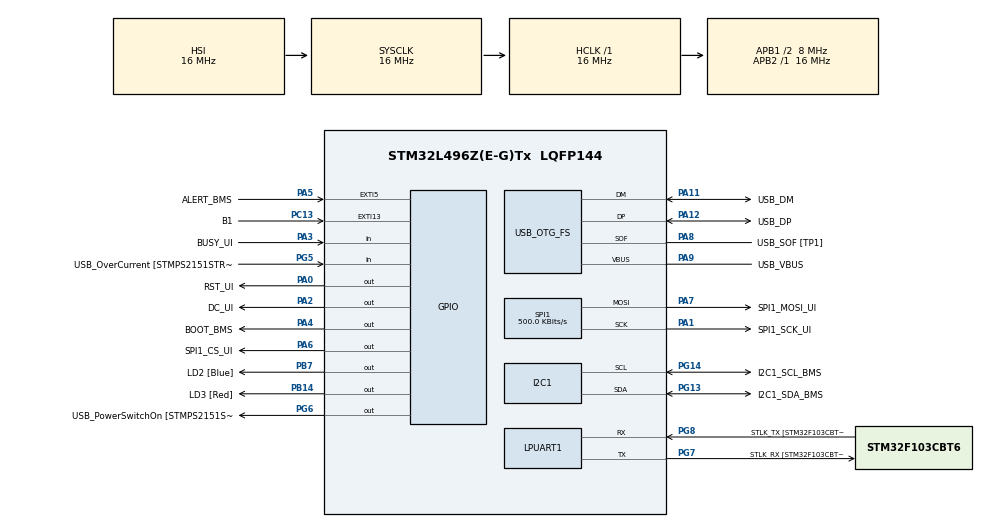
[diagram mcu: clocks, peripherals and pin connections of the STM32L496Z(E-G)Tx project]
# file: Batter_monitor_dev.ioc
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I2C1.Timing=0x2000090E
Mcu.Family=STM32L4
Mcu.Name=STM32L496Z(E-G)Tx
Mcu.Package=LQFP144
NVIC.EXTI9_5_IRQn=true\:0\:0\:false\:false\:true\:true\:true\:true
NVIC.PriorityGroup=NVIC_PRIORITYGROUP_4
NVIC.RTC_WKUP_IRQn=true\:0\:0\:false\:false\:true\:true\:true\:true
PA0.GPIO_Label=RST_UI
PA0.Signal=GPIO_Output
PA1.GPIO_Label=SPI1_SCK_UI
PA1.Mode=TX_Only_Simplex_Unidirect_Master
PA1.Signal=SPI1_SCK
PA10.GPIO_Label=USB_ID
PA10.Signal=USB_OTG_FS_ID
PA11.GPIO_Label=USB_DM
PA11.Mode=Device_Only
PA11.Signal=USB_OTG_FS_DM
PA12.GPIO_Label=USB_DP
PA12.Mode=Device_Only
PA12.Signal=USB_OTG_FS_DP
PA13\ (JTMS/SWDIO).GPIO_Label=TMS
PA13\ (JTMS/SWDIO).Mode=Serial_Wire
PA13\ (JTMS/SWDIO).Signal=SYS_JTMS-SWDIO
PA14\ (JTCK/SWCLK).GPIO_Label=TCK
PA14\ (JTCK/SWCLK).Mode=Serial_Wire
PA14\ (JTCK/SWCLK).Signal=SYS_JTCK-SWCLK
PA2.GPIO_Label=DC_UI
PA2.Signal=GPIO_Output
PA3.GPIO_Label=BUSY_UI
PA3.Signal=GPIO_Input
PA4.GPIO_Label=BOOT_BMS
PA4.Signal=GPIO_Output
PA5.GPIO_Label=ALERT_BMS
PA5.Signal=GPXTI5
PA6.GPIO_Label=SPI1_CS_UI
PA6.Signal=GPIO_Output
PA7.GPIO_Label=SPI1_MOSI_UI
PA7.Mode=TX_Only_Simplex_Unidirect_Master
PA7.Signal=SPI1_MOSI
PA8.GPIO_Label=USB_SOF [TP1]
PA8.Mode=Activate_SOF_FS
PA8.Signal=USB_OTG_FS_SOF
PA9.GPIO_Label=USB_VBUS
PA9.Mode=Activate_VBUS
PA9.Signal=USB_OTG_FS_VBUS
PB14.GPIO_Label=LD3 [Red]
PB14.Signal=GPIO_Output
PB3\ (JTDO/TRACESWO).GPIO_Label=SWO
PB3\ (JTDO/TRACESWO).Signal=SYS_JTDO-SWO
PB7.GPIO_Label=LD2 [Blue]
PB7.Signal=GPIO_Output
PC13.GPIO_Label=B1
PC13.Signal=GPXTI13
PC14-OSC32_IN\ (PC14).Mode=LSE-External-Oscillator
PC14-OSC32_IN\ (PC14).Signal=RCC_OSC32_IN
PC15-OSC32_OUT\ (PC15).Mode=LSE-External-Oscillator
PC15-OSC32_OUT\ (PC15).Signal=RCC_OSC32_OUT
PG13.GPIO_Label=I2C1_SDA_BMS
PG13.Mode=I2C
PG13.Signal=I2C1_SDA
PG14.GPIO_Label=I2C1_SCL_BMS
PG14.Mode=I2C
PG14.Signal=I2C1_SCL
PG5.GPIO_Label=USB_OverCurrent [STMPS2151STR_FAULT]
PG5.Signal=GPIO_Input
PG6.GPIO_Label=USB_PowerSwitchOn [STMPS2151STR_EN]
PG6.Signal=GPIO_Output
PG7.GPIO_Label=STLK_RX [STM32F103CBT6_PA3]
PG7.Mode=Asynchronous
PG7.Signal=LPUART1_TX
PG8.GPIO_Label=STLK_TX [STM32F103CBT6_PA2]
PG8.Mode=Asynchronous
PG8.Signal=LPUART1_RX
PH0-OSC_IN\ (PH0).Mode=HSE-External-Oscillator
PH0-OSC_IN\ (PH0).Signal=RCC_OSC_IN
PH1-OSC_OUT\ (PH1).Mode=HSE-External-Oscillator
PH1-OSC_OUT\ (PH1).Signal=RCC_OSC_OUT
ProjectManager.HeapSize=0x200
ProjectManager.StackSize=0x400
ProjectManager.TargetToolchain=STM32CubeIDE
RCC.48MHZClocksFreq_Value=24000000
RCC.ADCFreq_Value=48000000
RCC.AHBFreq_Value=16000000
RCC.APB1CLKDivider=RCC_HCLK_DIV2
RCC.APB1Freq_Value=8000000
RCC.APB1TimFreq_Value=16000000
RCC.APB2Freq_Value=16000000
RCC.APB2TimFreq_Value=16000000
RCC.CortexFreq_Value=16000000
RCC.HCLKFreq_Value=16000000
RCC.HSE_VALUE=48000000
RCC.HSI48_VALUE=48000000
RCC.HSI_VALUE=16000000
RCC.MSI_VALUE=4000000
RCC.PLLMUL=RCC_PLL_MUL9
RCC.PLLN=40
RCC.PLLSAI1N=24
RCC.PRESCALERUSB=RCC_USBCLKSOURCE_PLL_DIV1_5
RCC.SYSCLKFreq_VALUE=16000000
RCC.SYSCLKSource=RCC_SYSCLKSOURCE_HSI
RCC.SYSCLKSourceVirtual=RCC_SYSCLKSOURCE_PLLCLK
RCC.USBFreq_Value=48000000
RCC.VCOOutputFreq_Value=160000000
RTC.WakeUpCounter-WakeUp=0x4E20
SPI1.BaudRatePrescaler=SPI_BAUDRATEPRESCALER_32
SPI1.CalculateBaudRate=500.0 KBits/s
SPI1.Direction=SPI_DIRECTION_2LINES
SPI1.Mode=SPI_MODE_MASTER
SPI1.NSSPMode=SPI_NSS_PULSE_DISABLE
SPI1.VirtualType=VM_MASTER
USB_OTG_FS.VirtualMode=Device_Only
VP_RTC_VS_RTC_Activate.Mode=RTC_Enabled
VP_RTC_VS_RTC_WakeUp_intern.Mode=WakeUp
board=NUCLEO-L496ZG

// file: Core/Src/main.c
/* USER CODE BEGIN Header */
/**
  ******************************************************************************
  * @file           : main.c
  * @brief          : Main program body
  ******************************************************************************
  * @attention
  *
  * Copyright (c) 2022 STMicroelectronics.
  * All rights reserved.
  *
  * This software is licensed under terms that can be found in the LICENSE file
  * in the root directory of this software component.
  * If no LICENSE file comes with this software, it is provided AS-IS.
  *
  ******************************************************************************
  */
/* USER CODE END Header */
#include "main.h"

/* USER CODE BEGIN Includes */
#include "EPD_2in66.h"
#include "GUI_Paint.h"
#include <math.h>
#include <stdio.h>
#include <string.h>
/* USER CODE END Includes */

/* USER CODE BEGIN PD */
#define EPD_RST_Pin GPIO_PIN_15
#define EPD_RST_GPIO_Port GPIOA
#define EPD_CS_Pin GPIO_PIN_10
#define EPD_CS_GPIO_Port GPIOC
#define EPD_DC_Pin GPIO_PIN_6
#define EPD_DC_GPIO_Port GPIOC
#define EPD_BUSY_Pin GPIO_PIN_4
#define EPD_BUSY_GPIO_Port GPIOB
#define EPD_BUSY_EXTI_IRQn EXTI4_IRQn
/* USER CODE END PD */

I2C_HandleTypeDef hi2c1;

UART_HandleTypeDef hlpuart1;

RTC_HandleTypeDef hrtc;

SPI_HandleTypeDef hspi1;

PCD_HandleTypeDef hpcd_USB_OTG_FS;

/* USER CODE BEGIN PV */
static const uint8_t BQ76940_ADDR = 0x08<<1;//BMS temp address
static const uint8_t SYS_STAT_REG = 0x00;	//SYS_STAT register
static const uint8_t SYS_CTRL1_REG = 0x04;	//SYS_CTRL1 register
static const uint8_t SYS_CTRL2_REG = 0x05;	//SYS_CTRL2 register
static const uint8_t VC1_HI_REG = 0x0C;		//Needed to start the for() sequence later.
static const uint8_t TS1_HI_REG = 0x2C;		//TS1 register
static const uint8_t CC_HI_REG = 0x32;		//CC register
static const uint8_t ADCGAIN_REG = 0x50; 	//ADC gain register
static const uint8_t ADCOFFSET_REG = 0x51; 	//ADC offset register
HAL_StatusTypeDef ret;						//Error handle value
static const uint32_t WakeUpTimer = 0x4E20; //RTC wakeup timer value (20000 = 4E20)
/* USER CODE END PV */

void SystemClock_Config(void);
static void MX_GPIO_Init(void);
static void MX_LPUART1_UART_Init(void);
static void MX_USB_OTG_FS_PCD_Init(void);
static void MX_I2C1_Init(void);
static void MX_SPI1_Init(void);
static void MX_RTC_Init(void);
/* USER CODE BEGIN PFP */
void BQ76940_set_register(uint8_t reg, uint8_t reg_val);
void BQ76940_get_register(uint8_t reg, uint8_t* buf);
uint16_t BQ76940_get_HILO_register(uint8_t reg, uint8_t* buf);
void BQ76940_SHIPMODE();
void STM32L432KB_LP_STOP2();
/* USER CODE END PFP */

int main(void)
{
  /* USER CODE BEGIN 1 */
	uint8_t buf_ADC_gain[8], buf_ADC_offset[8], buf_ALERT_stat[8];
	uint8_t buf_cell_volt[16], buf_temp[16], buf_current[16], adc_gain, adc_offset;
	uint16_t cell_volt, temp, current;
	//float pack_current;
	float pack_voltage;
  /* USER CODE END 1 */

  /* MCU Configuration--------------------------------------------------------*/

  /* Reset of all peripherals, Initializes the Flash interface and the Systick. */
  HAL_Init();

  /* Configure the system clock */
  SystemClock_Config();

  /* Initialize all configured peripherals */
  MX_GPIO_Init();
  MX_LPUART1_UART_Init();
  MX_USB_OTG_FS_PCD_Init();
  MX_I2C1_Init();
  MX_SPI1_Init();
  MX_RTC_Init();
  /* USER CODE BEGIN 2 */
  BQ76940_get_register(ADCGAIN_REG, buf_ADC_gain);
  BQ76940_get_register(ADCOFFSET_REG, buf_ADC_offset);
  BQ76940_set_register(SYS_CTRL1_REG, 0x08u);	//Enable temperature measurements (TEMP_SEL = 1)
  BQ76940_set_register(SYS_CTRL2_REG, 0x40u);	//Enable CC ALWAYS ON mode (CC_EN = 1)
  HAL_GPIO_WritePin(GPIOA, GPIO_PIN_6, GPIO_PIN_SET);	//Set SPI CS pin high PA6
  EPD_2IN66_Init();	//Initialize the E-paper display
  EPD_2IN66_Clear();
  adc_gain = (buf_ADC_gain[0]*(10*exp(-6)));
  adc_offset = (buf_ADC_offset[0]*(10*exp(-3)));

  //Initial error checking for the SYS_STAT register.
  BQ76940_get_register(SYS_STAT_REG, buf_ALERT_stat);
  for(int i = 0; i<sizeof(buf_ALERT_stat); i++){
	  if(buf_ALERT_stat[i] != 0x00u){
		  printf("%d ", buf_ALERT_stat[i]);
		  BQ76940_set_register(SYS_STAT_REG, 0xFFu);
	  }
  }

  /* USER CODE END 2 */

  /* Infinite loop */
  /* USER CODE BEGIN WHILE */
  while (1)
  {
	  HAL_Delay(1000);
	  //Get each cell reading from their respective registers and store the voltage according to ADC gain and offset.
	  for(size_t i = 0; i<sizeof(buf_cell_volt); i++)
	  {
		  cell_volt = BQ76940_get_HILO_register(VC1_HI_REG + (i*2), buf_cell_volt);
		  cell_volt = ((adc_gain * cell_volt)+adc_offset);
		  printf("Cell %d voltage: %d\n", i, cell_volt);

		  //calculate pack total voltage from individual cell voltages
		  pack_voltage += cell_volt;
	  }
	  printf("Total cell voltage: %d\n", (int)pack_voltage);

	  //get the equivalent temperature resistance value
	  temp = BQ76940_get_HILO_register(TS1_HI_REG, buf_temp);
	  printf("Temperature: %d\n", temp);

	  //get the pack current value
	  current = BQ76940_get_HILO_register(CC_HI_REG, buf_current);
	  printf("Pack current: %d\n", current);

	  /*
	   * 	While the current is below acceptable threshold
	   * 	put BQ into ship mode, MCU in low power mode and
	   * 	measure current every minute.
	   */
	  while(current < 100){
		  HAL_GPIO_TogglePin(GPIOB, GPIO_PIN_1);						//Reset BQ BOOT pin.
		  BQ76940_SHIPMODE();											//Enter BQ low power ship mode.
		  STM32L432KB_LP_STOP2();										//Enter MCU low power STOP2 mode. Implement this in function.
		  HAL_GPIO_TogglePin(GPIOB, GPIO_PIN_1);						//Set BQ BOOT pin to enter normal mode.
		  current = BQ76940_get_HILO_register(CC_HI_REG, buf_current);	//Get current measurement.
	  }
    /* USER CODE END WHILE */

  }
}

void SystemClock_Config(void)
{
  RCC_OscInitTypeDef RCC_OscInitStruct = {0};
  RCC_ClkInitTypeDef RCC_ClkInitStruct = {0};

  /** Configure the main internal regulator output voltage
  */
  if (HAL_PWREx_ControlVoltageScaling(PWR_REGULATOR_VOLTAGE_SCALE1) != HAL_OK)
  {
    Error_Handler();
  }

  /** Configure LSE Drive Capability
  */
  HAL_PWR_EnableBkUpAccess();
  __HAL_RCC_LSEDRIVE_CONFIG(RCC_LSEDRIVE_LOW);

  /** Initializes the RCC Oscillators according to the specified parameters
  * in the RCC_OscInitTypeDef structure.
  */
  RCC_OscInitStruct.OscillatorType = RCC_OSCILLATORTYPE_HSI|RCC_OSCILLATORTYPE_LSI
                              |RCC_OSCILLATORTYPE_LSE|RCC_OSCILLATORTYPE_MSI;
  RCC_OscInitStruct.LSEState = RCC_LSE_ON;
  RCC_OscInitStruct.HSIState = RCC_HSI_ON;
  RCC_OscInitStruct.HSICalibrationValue = RCC_HSICALIBRATION_DEFAULT;
  RCC_OscInitStruct.LSIState = RCC_LSI_ON;
  RCC_OscInitStruct.MSIState = RCC_MSI_ON;
  RCC_OscInitStruct.MSICalibrationValue = 0;
  RCC_OscInitStruct.MSIClockRange = RCC_MSIRANGE_6;
  RCC_OscInitStruct.PLL.PLLState = RCC_PLL_NONE;
  if (HAL_RCC_OscConfig(&RCC_OscInitStruct) != HAL_OK)
  {
    Error_Handler();
  }

  /** Initializes the CPU, AHB and APB buses clocks
  */
  RCC_ClkInitStruct.ClockType = RCC_CLOCKTYPE_HCLK|RCC_CLOCKTYPE_SYSCLK
                              |RCC_CLOCKTYPE_PCLK1|RCC_CLOCKTYPE_PCLK2;
  RCC_ClkInitStruct.SYSCLKSource = RCC_SYSCLKSOURCE_HSI;
  RCC_ClkInitStruct.AHBCLKDivider = RCC_SYSCLK_DIV1;
  RCC_ClkInitStruct.APB1CLKDivider = RCC_HCLK_DIV2;
  RCC_ClkInitStruct.APB2CLKDivider = RCC_HCLK_DIV1;

  if (HAL_RCC_ClockConfig(&RCC_ClkInitStruct, FLASH_LATENCY_0) != HAL_OK)
  {
    Error_Handler();
  }

  /** Enable MSI Auto calibration
  */
  HAL_RCCEx_EnableMSIPLLMode();
}

static void MX_I2C1_Init(void)
{

  hi2c1.Instance = I2C1;
  hi2c1.Init.Timing = 0x2000090E;
  hi2c1.Init.OwnAddress1 = 0;
  hi2c1.Init.AddressingMode = I2C_ADDRESSINGMODE_7BIT;
  hi2c1.Init.DualAddressMode = I2C_DUALADDRESS_DISABLE;
  hi2c1.Init.OwnAddress2 = 0;
  hi2c1.Init.OwnAddress2Masks = I2C_OA2_NOMASK;
  hi2c1.Init.GeneralCallMode = I2C_GENERALCALL_DISABLE;
  hi2c1.Init.NoStretchMode = I2C_NOSTRETCH_DISABLE;
  if (HAL_I2C_Init(&hi2c1) != HAL_OK)
  {
    Error_Handler();
  }

  /** Configure Analogue filter
  */
  if (HAL_I2CEx_ConfigAnalogFilter(&hi2c1, I2C_ANALOGFILTER_ENABLE) != HAL_OK)
  {
    Error_Handler();
  }

  /** Configure Digital filter
  */
  if (HAL_I2CEx_ConfigDigitalFilter(&hi2c1, 0) != HAL_OK)
  {
    Error_Handler();
  }

}

static void MX_LPUART1_UART_Init(void)
{

  hlpuart1.Instance = LPUART1;
  hlpuart1.Init.BaudRate = 209700;
  hlpuart1.Init.WordLength = UART_WORDLENGTH_7B;
  hlpuart1.Init.StopBits = UART_STOPBITS_1;
  hlpuart1.Init.Parity = UART_PARITY_NONE;
  hlpuart1.Init.Mode = UART_MODE_TX_RX;
  hlpuart1.Init.HwFlowCtl = UART_HWCONTROL_NONE;
  hlpuart1.Init.OneBitSampling = UART_ONE_BIT_SAMPLE_DISABLE;
  hlpuart1.AdvancedInit.AdvFeatureInit = UART_ADVFEATURE_NO_INIT;
  if (HAL_UART_Init(&hlpuart1) != HAL_OK)
  {
    Error_Handler();
  }

}

static void MX_RTC_Init(void)
{

  /** Initialize RTC Only
  */
  hrtc.Instance = RTC;
  hrtc.Init.HourFormat = RTC_HOURFORMAT_24;
  hrtc.Init.AsynchPrediv = 127;
  hrtc.Init.SynchPrediv = 255;
  hrtc.Init.OutPut = RTC_OUTPUT_DISABLE;
  hrtc.Init.OutPutRemap = RTC_OUTPUT_REMAP_NONE;
  hrtc.Init.OutPutPolarity = RTC_OUTPUT_POLARITY_HIGH;
  hrtc.Init.OutPutType = RTC_OUTPUT_TYPE_OPENDRAIN;
  if (HAL_RTC_Init(&hrtc) != HAL_OK)
  {
    Error_Handler();
  }

}

static void MX_SPI1_Init(void)
{

  /* SPI1 parameter configuration*/
  hspi1.Instance = SPI1;
  hspi1.Init.Mode = SPI_MODE_MASTER;
  hspi1.Init.Direction = SPI_DIRECTION_2LINES;
  hspi1.Init.DataSize = SPI_DATASIZE_8BIT;
  hspi1.Init.CLKPolarity = SPI_POLARITY_LOW;
  hspi1.Init.CLKPhase = SPI_PHASE_1EDGE;
  hspi1.Init.NSS = SPI_NSS_SOFT;
  hspi1.Init.BaudRatePrescaler = SPI_BAUDRATEPRESCALER_16;
  hspi1.Init.FirstBit = SPI_FIRSTBIT_MSB;
  hspi1.Init.TIMode = SPI_TIMODE_DISABLE;
  hspi1.Init.CRCCalculation = SPI_CRCCALCULATION_DISABLE;
  hspi1.Init.CRCPolynomial = 7;
  hspi1.Init.CRCLength = SPI_CRC_LENGTH_DATASIZE;
  hspi1.Init.NSSPMode = SPI_NSS_PULSE_DISABLE;
  if (HAL_SPI_Init(&hspi1) != HAL_OK)
  {
    Error_Handler();
  }

}

static void MX_USB_OTG_FS_PCD_Init(void)
{

  hpcd_USB_OTG_FS.Instance = USB_OTG_FS;
  hpcd_USB_OTG_FS.Init.dev_endpoints = 6;
  hpcd_USB_OTG_FS.Init.speed = PCD_SPEED_FULL;
  hpcd_USB_OTG_FS.Init.phy_itface = PCD_PHY_EMBEDDED;
  hpcd_USB_OTG_FS.Init.Sof_enable = ENABLE;
  hpcd_USB_OTG_FS.Init.low_power_enable = DISABLE;
  hpcd_USB_OTG_FS.Init.lpm_enable = DISABLE;
  hpcd_USB_OTG_FS.Init.battery_charging_enable = ENABLE;
  hpcd_USB_OTG_FS.Init.use_dedicated_ep1 = DISABLE;
  hpcd_USB_OTG_FS.Init.vbus_sensing_enable = ENABLE;
  if (HAL_PCD_Init(&hpcd_USB_OTG_FS) != HAL_OK)
  {
    Error_Handler();
  }

}

static void MX_GPIO_Init(void)
{
  GPIO_InitTypeDef GPIO_InitStruct = {0};

  /* GPIO Ports Clock Enable */
  __HAL_RCC_GPIOC_CLK_ENABLE();
  __HAL_RCC_GPIOH_CLK_ENABLE();
  __HAL_RCC_GPIOA_CLK_ENABLE();
  __HAL_RCC_GPIOB_CLK_ENABLE();
  __HAL_RCC_GPIOG_CLK_ENABLE();
  HAL_PWREx_EnableVddIO2();

  /*Configure GPIO pin Output Level */
  HAL_GPIO_WritePin(GPIOA, RST_UI_Pin|DC_UI_Pin|BOOT_BMS_Pin|SPI1_CS_UI_Pin, GPIO_PIN_RESET);

  /*Configure GPIO pin Output Level */
  HAL_GPIO_WritePin(GPIOB, LD3_Pin|LD2_Pin, GPIO_PIN_RESET);

  /*Configure GPIO pin Output Level */
  HAL_GPIO_WritePin(USB_PowerSwitchOn_GPIO_Port, USB_PowerSwitchOn_Pin, GPIO_PIN_RESET);

  /*Configure GPIO pin : B1_Pin */
  GPIO_InitStruct.Pin = B1_Pin;
  GPIO_InitStruct.Mode = GPIO_MODE_IT_RISING;
  GPIO_InitStruct.Pull = GPIO_NOPULL;
  HAL_GPIO_Init(B1_GPIO_Port, &GPIO_InitStruct);

  /*Configure GPIO pins : RST_UI_Pin DC_UI_Pin BOOT_BMS_Pin SPI1_CS_UI_Pin */
  GPIO_InitStruct.Pin = RST_UI_Pin|DC_UI_Pin|BOOT_BMS_Pin|SPI1_CS_UI_Pin;
  GPIO_InitStruct.Mode = GPIO_MODE_OUTPUT_PP;
  GPIO_InitStruct.Pull = GPIO_NOPULL;
  GPIO_InitStruct.Speed = GPIO_SPEED_FREQ_LOW;
  HAL_GPIO_Init(GPIOA, &GPIO_InitStruct);

  /*Configure GPIO pins : BUSY_UI_Pin ALERT_BMS_Pin */
  GPIO_InitStruct.Pin = BUSY_UI_Pin|ALERT_BMS_Pin;
  GPIO_InitStruct.Mode = GPIO_MODE_IT_RISING;
  GPIO_InitStruct.Pull = GPIO_NOPULL;
  HAL_GPIO_Init(GPIOA, &GPIO_InitStruct);

  /*Configure GPIO pins : LD3_Pin LD2_Pin */
  GPIO_InitStruct.Pin = LD3_Pin|LD2_Pin;
  GPIO_InitStruct.Mode = GPIO_MODE_OUTPUT_PP;
  GPIO_InitStruct.Pull = GPIO_NOPULL;
  GPIO_InitStruct.Speed = GPIO_SPEED_FREQ_LOW;
  HAL_GPIO_Init(GPIOB, &GPIO_InitStruct);

  /*Configure GPIO pin : USB_OverCurrent_Pin */
  GPIO_InitStruct.Pin = USB_OverCurrent_Pin;
  GPIO_InitStruct.Mode = GPIO_MODE_INPUT;
  GPIO_InitStruct.Pull = GPIO_NOPULL;
  HAL_GPIO_Init(USB_OverCurrent_GPIO_Port, &GPIO_InitStruct);

  /*Configure GPIO pin : USB_PowerSwitchOn_Pin */
  GPIO_InitStruct.Pin = USB_PowerSwitchOn_Pin;
  GPIO_InitStruct.Mode = GPIO_MODE_OUTPUT_PP;
  GPIO_InitStruct.Pull = GPIO_NOPULL;
  GPIO_InitStruct.Speed = GPIO_SPEED_FREQ_LOW;
  HAL_GPIO_Init(USB_PowerSwitchOn_GPIO_Port, &GPIO_InitStruct);

  /* EXTI interrupt init*/
  HAL_NVIC_SetPriority(EXTI9_5_IRQn, 0, 0);
  HAL_NVIC_EnableIRQ(EXTI9_5_IRQn);

}

/* USER CODE BEGIN 4 */
/**
  * @brief Set register values.
  * @param reg: the register address of register to be changed.
  * @param bit_order: bit value to set register to (example 0b01010101).
  * @retval None
  */
void BQ76940_set_register(uint8_t reg, uint8_t reg_val)
{
	ret = HAL_I2C_Mem_Write(&hi2c1, BQ76940_ADDR, reg, I2C_MEMADD_SIZE_8BIT, &reg_val, 1, HAL_MAX_DELAY);
	if(ret != HAL_OK){
		printf("ERROR on Writing to register\r\n");
	}
	printf("Register set");
}

/**
  * @brief Get register values.
  * @param reg: the register address of register to be read.
  * @param buffer: buffer to contain the register data.
  * @retval None
  */
void BQ76940_get_register(uint8_t reg, uint8_t* buffer)
{
	//Write BQ76940 cells according to cell_reg
	ret = HAL_I2C_Mem_Read(&hi2c1, BQ76940_ADDR, reg, I2C_MEMADD_SIZE_8BIT, buffer, 1, HAL_MAX_DELAY);
	if(ret != HAL_OK) {
		printf("ERROR on Reading from register\r\n");
	}
	printf("Register get");
}

/**
  * @brief Get HI/LO register values.
  * @param reg: the register address of HI register to be read.
  * @param buffer: buffer to contain the register data.
  * @retval None
  */
uint16_t BQ76940_get_HILO_register(uint8_t reg, uint8_t* buf)
{
	uint16_t val, temp_volt, temp_res;
	ret = HAL_I2C_Mem_Read(&hi2c1, BQ76940_ADDR, reg, I2C_MEMADD_SIZE_8BIT, buf, 2, HAL_MAX_DELAY);
	if(ret != HAL_OK) {
		printf("ERROR on Reading from HILO register\r\n");
	} else {
		val = (((int16_t)buf[0] << 8) | buf[1]);

		//Switch case depending on the register to be read. This helps clean up main.
		if(reg == TS1_HI_REG){
			temp_volt = val*(382*(10*exp(-6)));
			temp_res = ((10000 * temp_volt) / (3.3 - temp_volt));
			printf("Returning temp");
			val = ((-26.38*log(temp_res)) + 91.798);	//see excel sheet "NTC103AT_temp_res_correlation" in Oliver/3-Documentation/3-BMS_docs
		}

		else if(reg == CC_HI_REG){
			if(val > 0x7FF){
				val |= 0xF000;
			}
			printf("Returning current");
			val = ((val*8.44)/(0.8*(10*exp(-3))));

		}

		else{
			printf("Returning cell voltage");
		}

		return val;

	}
	return 0;
}

/**
  * @brief Enter SHIP MODE.
  * @param None
  * @retval None
  */
void BQ76940_SHIPMODE()
{
	//Write to SYS_CTRL1 register SHUT_A = 0, SHUT_B = 1
	uint8_t buf01[8] = {0x01};
	ret = HAL_I2C_Mem_Write(&hi2c1, BQ76940_ADDR, 0x04, I2C_MEMADD_SIZE_8BIT, buf01, 1, HAL_MAX_DELAY);
	if(ret != HAL_OK){
		printf("ERROR on writing to sys_ctrl1 [SHUT_A = 0, SHUT_B = 1]\r\n");
	}

	//Write to SYS_CTRL1 register SHUT_A = 1, SHUT_B = 0
	uint8_t buf10[8] = {0x02};
	ret = HAL_I2C_Mem_Write(&hi2c1, BQ76940_ADDR, 0x04, I2C_MEMADD_SIZE_8BIT, buf10, 1, HAL_MAX_DELAY);
	if(ret != HAL_OK){
		printf("ERROR on writing to sys_ctrl1 [SHUT_A = 1, SHUT_B = 0]\r\n");
	}
}

void STM32L432KB_LP_STOP2()
{
	HAL_SuspendTick();
	HAL_RTCEx_SetWakeUpTimer(&hrtc, WakeUpTimer, RTC_WAKEUPCLOCK_RTCCLK_DIV16);
	HAL_PWREx_EnterSTOP2Mode(PWR_STOPENTRY_WFI);
	HAL_RTCEx_DeactivateWakeUpTimer(&hrtc);
	SystemClock_Config();
	HAL_ResumeTick();
}

/**
  * @brief  EXTI line detection callback.
  * @param  GPIO_Pin Specifies the port pin connected to corresponding EXTI line.
  * @retval None
  */
// EXTI Line5 External Interrupt ISR Handler CallBackFun
void HAL_GPIO_EXTI_Callback(uint16_t GPIO_Pin)
{
    if(GPIO_Pin == GPIO_PIN_5) // If The INT Source Is EXTI Line5 (A5 Pin)
    {
    	uint8_t sys_buf[8];
    	BQ76940_get_register(SYS_STAT_REG, sys_buf);
    	for(int i = 0; i < sizeof(sys_buf); i++){
    		printf("%d", sys_buf[i]);
    	}
    }
}
/* USER CODE END 4 */

void Error_Handler(void)
{
  __disable_irq();
  while (1)
  {
  }
}
